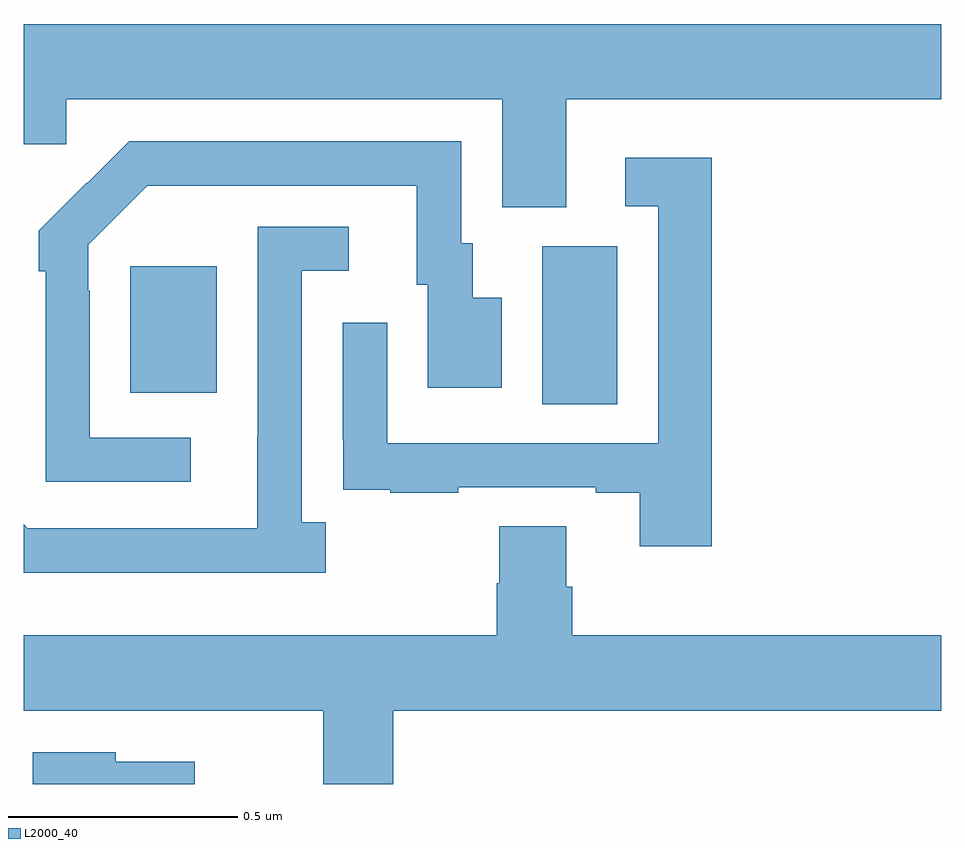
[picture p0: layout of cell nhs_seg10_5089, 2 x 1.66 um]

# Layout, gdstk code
import gdstk
lib = gdstk.Library(unit=1e-6, precision=1e-09)
def R(c, l, rs):  # rectangles x0, y0, x1, y1
    for r in rs: c.add(gdstk.rectangle(r[:2], r[2:], *l))
def P(c, l, *ps):  # polygons
    for p in ps: c.add(gdstk.Polygon(p, *l))
L2000_40 = (2000, 40)

nhs_seg10_5089 = lib.new_cell('nhs_seg10_5089')
R(nhs_seg10_5089, L2000_40, [(175.13,1290.328,175.294,1290.672), (174.233,1290.353,174.421,1290.628)])
P(nhs_seg10_5089, L2000_40, [(175.183,1290.992),(176,1290.992),(176,1291.156),(174,1291.156),(174,1290.894),(174.093,1290.894),(174.093,1290.992),(175.043,1290.992),(175.043,1290.757),(175.183,1290.757)],
  [(174.364,1290.255),(174.144,1290.255),(174.144,1290.575),(174.141,1290.575),(174.141,1290.675),(174.27,1290.804),(174.857,1290.804),(174.857,1290.588),(174.881,1290.588),(174.881,1290.363),(175.042,1290.363),(175.042,1290.559),(174.979,1290.559),(174.979,1290.678),(174.954,1290.678),(174.954,1290.9),(174.23,1290.9),(174.139,1290.809),(174.138,1290.81),(174.033,1290.705),(174.033,1290.617),(174.048,1290.617),(174.048,1290.159),(174.364,1290.159)],
  [(175.499,1290.865),(175.311,1290.865),(175.311,1290.759),(175.383,1290.759),(175.383,1290.243),(174.792,1290.243),(174.792,1290.505),(174.696,1290.505),(174.696,1290.25),(174.697,1290.25),(174.697,1290.141),(174.799,1290.141),(174.799,1290.135),(174.947,1290.135),(174.947,1290.147),(175.247,1290.147),(175.247,1290.135),(175.343,1290.135),(175.343,1290.018),(175.499,1290.018)],
  [(174.658,1290.07),(174.606,1290.07),(174.606,1290.618),(174.709,1290.618),(174.709,1290.714),(174.51,1290.714),(174.51,1290.257),(174.509,1290.257),(174.509,1290.057),(174.009,1290.057),(174,1290.066),(174,1289.96),(174.658,1289.96)],
  [(174.806,1289.66),(176,1289.66),(176,1289.824),(175.196,1289.824),(175.196,1289.93),(175.183,1289.93),(175.183,1290.062),(175.036,1290.062),(175.036,1289.937),(175.031,1289.937),(175.031,1289.824),(174,1289.824),(174,1289.66),(174.653,1289.66),(174.653,1289.5),(174.806,1289.5)],
  [(174.373,1289.548),(174.201,1289.548),(174.201,1289.569),(174.02,1289.569),(174.02,1289.5),(174.373,1289.5)])

lib.write_gds('nhs_seg10_5089.gds')
